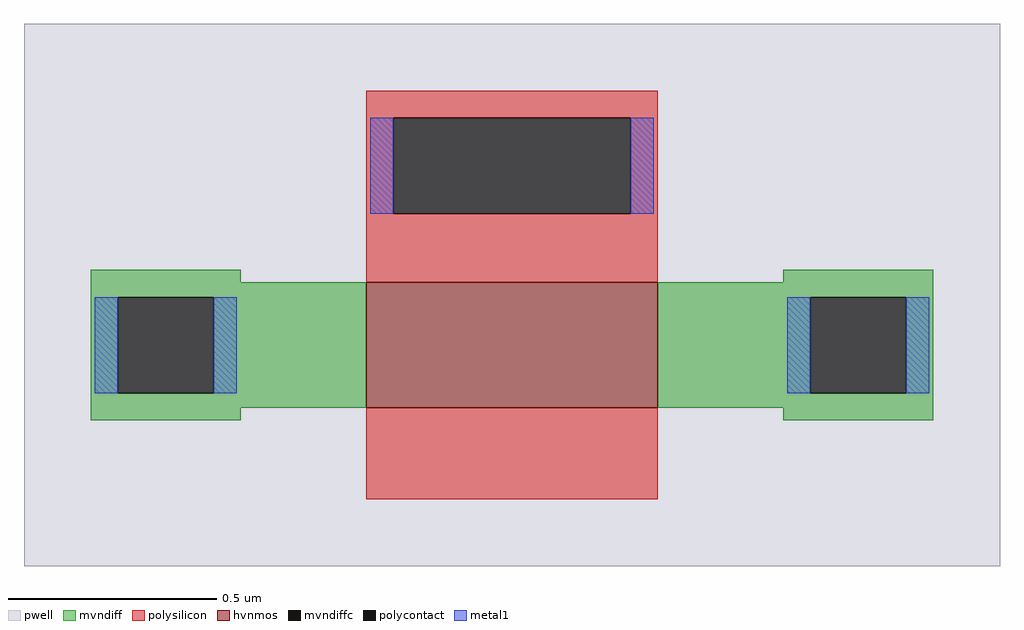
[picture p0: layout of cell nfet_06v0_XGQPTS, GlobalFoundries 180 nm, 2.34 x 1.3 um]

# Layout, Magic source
magic
tech gf180mcuD
magscale 1 10
<< pwell >>
rect -234 -130 234 130
<< hvnmos >>
rect -70 -54 70 6
<< mvndiff >>
rect -202 6 -130 12
rect 130 6 202 12
rect -202 -1 -70 6
rect -202 -47 -189 -1
rect -143 -47 -70 -1
rect -202 -54 -70 -47
rect 70 -1 202 6
rect 70 -47 143 -1
rect 189 -47 202 -1
rect 70 -54 202 -47
rect -202 -60 -130 -54
rect 130 -60 202 -54
<< mvndiffc >>
rect -189 -47 -143 -1
rect 143 -47 189 -1
<< polysilicon >>
rect -70 85 70 98
rect -70 39 -57 85
rect 57 39 70 85
rect -70 6 70 39
rect -70 -98 70 -54
<< polycontact >>
rect -57 39 57 85
<< metal1 >>
rect -68 39 -57 85
rect 57 39 68 85
rect -200 -47 -189 -1
rect -143 -47 -132 -1
rect 132 -47 143 -1
rect 189 -47 200 -1
<< properties >>
string gencell nfet_06v0
string library gf180mcu
string parameters w 0.3 l 0.7 m 1 nf 1 diffcov 100 polycov 100 guard 0 glc 0 grc 0 gtc 0 gbc 0 tbcov 100 rlcov 100 topc 1 botc 0 poverlap 0 doverlap 1 lmin 0.7 wmin 0.3 class mosfet full_metal 0 compatible {nfet_03v3 nfet_05v0 nfet_06v0 nfet_06v0_nvt}
<< end >>
